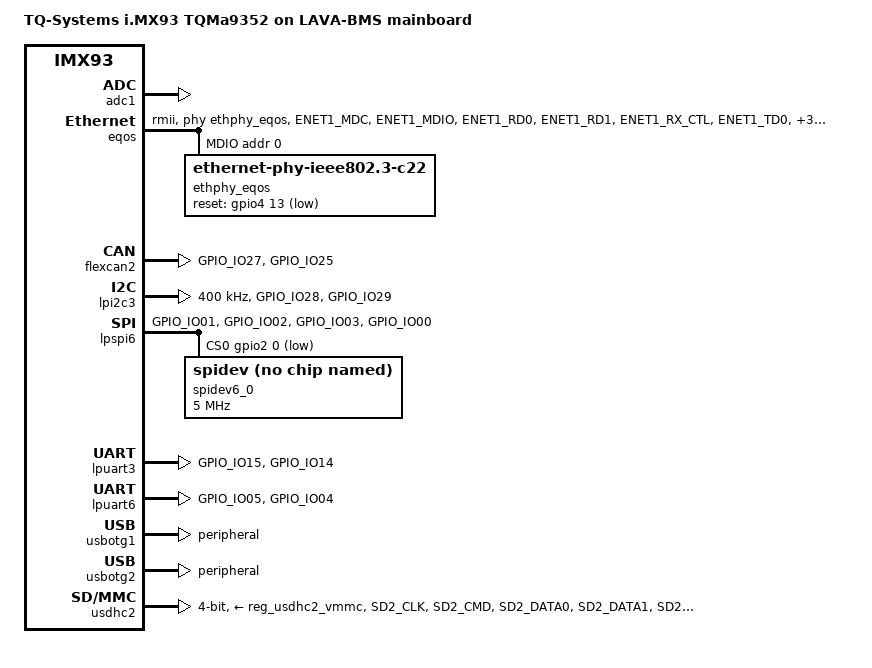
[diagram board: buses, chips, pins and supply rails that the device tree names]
// SPDX-License-Identifier: (GPL-2.0-or-later OR MIT)
/*
 * Copyright (c) 2026 TQ-Systems GmbH <linux@ew.tq-group.com>,
 * D-82229 Seefeld, Germany.
 * Author: Martin Schmiedel
 */
/dts-v1/;

#include "imx93-tqma9352.dtsi"

/{
	model = "TQ-Systems i.MX93 TQMa9352 on LAVA-BMS mainboard";
	compatible = "tq,imx93-tqma9352-lava-bms",
		     "tq,imx93-tqma9352", "fsl,imx93";
	chassis-type = "embedded";

	chosen {
		stdout-path = &lpuart3;
	};

	aliases {
		eeprom0 = &eeprom0;
		ethernet0 = &eqos;
		gpio0 = &gpio1;
		gpio1 = &gpio2;
		gpio2 = &gpio3;
		gpio3 = &gpio4;
		i2c0 = &lpi2c1;
		i2c1 = &lpi2c2;
		i2c2 = &lpi2c3;
		mmc0 = &usdhc1;
		mmc1 = &usdhc2;
		rtc0 = &pcf85063;
		rtc1 = &bbnsm_rtc;
		serial0 = &lpuart3;
		serial1 = &lpuart6;
	};
};

/*
 * X601 expansion header: I2C1, I2C3, UART6, SPI6, CAN2, ADC_IN[0..3] and
 * GPIO1.IO2/4/6/8/9/10/12/14 are routed there unpopulated, for manual
 * extension. I2C1 is the SOM's own lpi2c1 - the same bus as the PMIC,
 * EEPROM/VARD and on-module temperature sensor - it needs no separate
 * enablement here, but anything wired to the header shares that bus.
 */

/* X601 header, ADC_IN[0..3] - standard reference, no on-board consumer */
&adc1 {
	status = "okay";
};

&gpio1 {
	pinctrl-names = "default";
	pinctrl-0 = <&pinctrl_gpio1>;

	gpio-line-names =
		/* 00 */ "", "", "IO2", "PMIC_IRQ#",
		/* 04 */ "IO4", "", "IO6", "",
		/* 08 */ "IO8", "IO9", "IO10", "",
		/* 12 */ "IO12", "", "IO14", "",
		/* 16 */ "", "", "", "",
		/* 20 */ "", "", "", "",
		/* 24 */ "", "", "", "",
		/* 28 */ "", "", "", "";
};

&gpio2 {
	pinctrl-names = "default";
	pinctrl-0 = <&pinctrl_gpio2>;

	/* BMS1..BMS18: analog-switched signals, plain SOC GPIOs from here */
	gpio-line-names =
		/* 00 */ "", "", "", "",
		/* 04 */ "", "", "BMS1", "BMS2",
		/* 08 */ "BMS3", "BMS4", "BMS5", "BMS6",
		/* 12 */ "BMS7", "BMS8", "UART3_TX", "UART3_RX",
		/* 16 */ "BMS9", "BMS10", "BMS11", "BMS12",
		/* 20 */ "BMS13", "BMS14", "BMS15", "BMS16",
		/* 24 */ "BMS17", "CAN2_TX", "BMS18", "",
		/* 28 */ "", "", "", "";
};

&eqos {
	pinctrl-names = "default";
	pinctrl-0 = <&pinctrl_eqos>;
	phy-mode = "rmii";
	phy-handle = <&ethphy_eqos>;
	/*
	 * DP83825IRMQ is RMII Leader (own crystal, drives REF_CLK into
	 * ENET1_TD2) - switches the MAC's REF_CLK source mux to the
	 * external pin (see dwmac-imx.c imx93_set_intf_mode()).
	 */
	snps,rmii_refclk_ext;
	status = "okay";

	mdio {
		compatible = "snps,dwmac-mdio";
		#address-cells = <1>;
		#size-cells = <0>;

		ethphy_eqos: ethernet-phy@0 {
			compatible = "ethernet-phy-ieee802.3-c22";
			reg = <0>;
			pinctrl-names = "default";
			pinctrl-0 = <&pinctrl_eqos_phy>;
			reset-gpios = <&gpio4 13 GPIO_ACTIVE_LOW>;
			reset-assert-us = <500000>;
			reset-deassert-us = <50000>;
		};
	};
};

/* X601 header - plain logic-level TX/RX, no on-board transceiver */
&flexcan2 {
	pinctrl-names = "default";
	pinctrl-0 = <&pinctrl_flexcan2>;
	status = "okay";
};

/* X601 header - free bus, no on-board devices */
&lpi2c3 {
	#address-cells = <1>;
	#size-cells = <0>;
	clock-frequency = <400000>;
	pinctrl-names = "default";
	pinctrl-0 = <&pinctrl_lpi2c3>;
	status = "okay";
};

/* X601 header - single PCS0, one test device */
&lpspi6 {
	pinctrl-names = "default";
	pinctrl-0 = <&pinctrl_lpspi6>, <&pinctrl_lpspi6_cs>;
	cs-gpios = <&gpio2 0 GPIO_ACTIVE_LOW>;
	status = "okay";

	spidev6_0: spidev6@0 {
		compatible = "rohm,dh2228fv";
		reg = <0>;
		spi-max-frequency = <5000000>;
		status = "okay";
	};
};

&lpuart3 {
	pinctrl-names = "default";
	pinctrl-0 = <&pinctrl_uart3>;
	status = "okay";
};

/* X601 header - free bus, no on-board devices */
&lpuart6 {
	pinctrl-names = "default";
	pinctrl-0 = <&pinctrl_uart6>;
	status = "okay";
};

&usbotg1 {
	dr_mode = "peripheral";
	disable-over-current;
	samsung,picophy-pre-emp-curr-control = <3>;
	samsung,picophy-dc-vol-level-adjust = <7>;
	status = "okay";
};

&usbotg2 {
	dr_mode = "peripheral";
	disable-over-current;
	samsung,picophy-pre-emp-curr-control = <3>;
	samsung,picophy-dc-vol-level-adjust = <7>;
	status = "okay";
};

&usdhc2 {
	pinctrl-names = "default", "state_100mhz", "state_200mhz";
	pinctrl-0 = <&pinctrl_usdhc2_hs>, <&pinctrl_usdhc2_gpio>;
	pinctrl-1 = <&pinctrl_usdhc2_uhs>, <&pinctrl_usdhc2_gpio>;
	pinctrl-2 = <&pinctrl_usdhc2_uhs>, <&pinctrl_usdhc2_gpio>;
	cd-gpios = <&gpio3 0 GPIO_ACTIVE_LOW>;
	vmmc-supply = <&reg_usdhc2_vmmc>;
	bus-width = <4>;
	no-sdio;
	no-mmc;
	disable-wp;
	status = "okay";
};

&iomuxc {
	/*
	 * DP83825IRMQ, RMII, PHY is REF_CLK master. Reset on the otherwise
	 * unused RGMII RD3 line (repurposed as plain GPIO), REF_CLK input
	 * on the dedicated ENET_QOS_CLOCK_GENERATE_REF_CLK function of TD2.
	 */
	pinctrl_eqos: eqosgrp {
		fsl,pins = <
			/* PD | FSEL_2 | DSE X4 */
			MX93_PAD_ENET1_MDC__ENET_QOS_MDC			0x51e
			/* SION | HYS | FSEL_2 | DSE X4 */
			MX93_PAD_ENET1_MDIO__ENET_QOS_MDIO			0x4000111e
			/* HYS | FSEL_0 | DSE no drive */
			MX93_PAD_ENET1_RD0__ENET_QOS_RGMII_RD0			0x1000
			MX93_PAD_ENET1_RD1__ENET_QOS_RGMII_RD1			0x1000
			MX93_PAD_ENET1_RX_CTL__ENET_QOS_RGMII_RX_CTL		0x1000
			/* PD | FSEL_2 | DSE X4 */
			MX93_PAD_ENET1_TD0__ENET_QOS_RGMII_TD0			0x51e
			MX93_PAD_ENET1_TD1__ENET_QOS_RGMII_TD1			0x51e
			MX93_PAD_ENET1_TX_CTL__ENET_QOS_RGMII_TX_CTL		0x51e
			/* HYS | FSEL_0 | DSE no drive, external 50 MHz REF_CLK in */
			MX93_PAD_ENET1_TD2__CCM_ENET_QOS_CLOCK_GENERATE_REF_CLK 0x1000
		>;
	};

	pinctrl_eqos_phy: eqosphygrp {
		fsl,pins = <
			/* FSEL_2 | DSE X4, PHY reset */
			MX93_PAD_ENET1_RD3__GPIO4_IO13				0x011e
		>;
	};

	/* X601 header: IO2/4/6/8/9/10/12/14, plain GPIO1 inputs */
	pinctrl_gpio1: gpio1grp {
		fsl,pins = <
			/* HYS | PD | FSEL_2 | DSE X4 */
			MX93_PAD_I2C2_SCL__GPIO1_IO02			0x151e
			MX93_PAD_UART1_RXD__GPIO1_IO04			0x151e
			MX93_PAD_UART2_RXD__GPIO1_IO06			0x151e
			MX93_PAD_PDM_CLK__GPIO1_IO08			0x151e
			MX93_PAD_PDM_BIT_STREAM0__GPIO1_IO09		0x151e
			MX93_PAD_PDM_BIT_STREAM1__GPIO1_IO10		0x151e
			MX93_PAD_SAI1_TXC__GPIO1_IO12			0x151e
			MX93_PAD_SAI1_RXD0__GPIO1_IO14			0x151e
		>;
	};

	/* X601 header, plain logic-level TX/RX, no on-board transceiver */
	pinctrl_flexcan2: flexcan2grp {
		fsl,pins = <
			/* HYS | PU | FSEL_0 | DSE no drive */
			MX93_PAD_GPIO_IO27__CAN2_RX			0x1200
			/* PU | FSEL_3 | DSE X4 */
			MX93_PAD_GPIO_IO25__CAN2_TX			0x039e
		>;
	};

	/* X601 header */
	pinctrl_lpi2c3: lpi2c3grp {
		fsl,pins = <
			/* SION | HYS | OD | FSEL_3 | DSE X4 */
			MX93_PAD_GPIO_IO28__LPI2C3_SDA			0x4000199e
			MX93_PAD_GPIO_IO29__LPI2C3_SCL			0x4000199e
		>;
	};

	/* X601 header, single PCS0 */
	pinctrl_lpspi6: lpspi6grp {
		fsl,pins = <
			/* HYS | PD | FSEL_0 | DSE no drive */
			MX93_PAD_GPIO_IO01__LPSPI6_SIN			0x1400
			/* PD | FSEL_2 | DSE X4 */
			MX93_PAD_GPIO_IO02__LPSPI6_SOUT			0x051e
			MX93_PAD_GPIO_IO03__LPSPI6_SCK			0x051e
		>;
	};

	pinctrl_lpspi6_cs: lpspi6csgrp {
		fsl,pins = <
			/* FSEL_2 | DSE X4 */
			MX93_PAD_GPIO_IO00__GPIO2_IO00			0x011e
		>;
	};

	/* X601 header */
	pinctrl_uart6: uart6grp {
		fsl,pins = <
			/* HYS | FSEL_0 | No DSE */
			MX93_PAD_GPIO_IO05__LPUART6_RX			0x1000
			/* FSEL_2 | DSE X4 */
			MX93_PAD_GPIO_IO04__LPUART6_TX			0x011e
		>;
	};

	/* BMS1..BMS18 analog-switch signals, plain GPIO2 inputs */
	pinctrl_gpio2: gpio2grp {
		fsl,pins = <
			/* HYS | PD | FSEL_2 | DSE X4 */
			MX93_PAD_GPIO_IO06__GPIO2_IO06			0x151e
			MX93_PAD_GPIO_IO07__GPIO2_IO07			0x151e
			MX93_PAD_GPIO_IO08__GPIO2_IO08			0x151e
			MX93_PAD_GPIO_IO09__GPIO2_IO09			0x151e
			MX93_PAD_GPIO_IO10__GPIO2_IO10			0x151e
			MX93_PAD_GPIO_IO11__GPIO2_IO11			0x151e
			MX93_PAD_GPIO_IO12__GPIO2_IO12			0x151e
			MX93_PAD_GPIO_IO13__GPIO2_IO13			0x151e
			MX93_PAD_GPIO_IO16__GPIO2_IO16			0x151e
			MX93_PAD_GPIO_IO17__GPIO2_IO17			0x151e
			MX93_PAD_GPIO_IO18__GPIO2_IO18			0x151e
			MX93_PAD_GPIO_IO19__GPIO2_IO19			0x151e
			MX93_PAD_GPIO_IO20__GPIO2_IO20			0x151e
			MX93_PAD_GPIO_IO21__GPIO2_IO21			0x151e
			MX93_PAD_GPIO_IO22__GPIO2_IO22			0x151e
			MX93_PAD_GPIO_IO23__GPIO2_IO23			0x151e
			MX93_PAD_GPIO_IO24__GPIO2_IO24			0x151e
			MX93_PAD_GPIO_IO26__GPIO2_IO26			0x151e
		>;
	};

	pinctrl_uart3: uart3grp {
		fsl,pins = <
			/* HYS | FSEL_0 | No DSE */
			MX93_PAD_GPIO_IO15__LPUART3_RX			0x1000
			/* FSEL_2 | DSE X4 */
			MX93_PAD_GPIO_IO14__LPUART3_TX			0x011e
		>;
	};

	pinctrl_usdhc2_gpio: usdhc2gpiogrp {
		fsl,pins = <
			/* HYS | FSEL_0 | No DSE */
			MX93_PAD_SD2_CD_B__GPIO3_IO00			0x1000
		>;
	};

	/* enable SION for data and cmd pad due to ERR052021 */
	pinctrl_usdhc2_hs: usdhc2hsgrp {
		fsl,pins = <
			/* PD | FSEL_3 | DSE X5 */
			MX93_PAD_SD2_CLK__USDHC2_CLK			0x05be
			/* HYS | PU | FSEL_3 | DSE X4 */
			MX93_PAD_SD2_CMD__USDHC2_CMD			0x4000139e
			/* HYS | PU | FSEL_3 | DSE X3 */
			MX93_PAD_SD2_DATA0__USDHC2_DATA0		0x4000138e
			MX93_PAD_SD2_DATA1__USDHC2_DATA1		0x4000138e
			MX93_PAD_SD2_DATA2__USDHC2_DATA2		0x4000138e
			MX93_PAD_SD2_DATA3__USDHC2_DATA3		0x4000138e
			/* FSEL_2 | DSE X3 */
			MX93_PAD_SD2_VSELECT__USDHC2_VSELECT		0x010e
		>;
	};

	/* enable SION for data and cmd pad due to ERR052021 */
	pinctrl_usdhc2_uhs: usdhc2uhsgrp {
		fsl,pins = <
			/* PD | FSEL_3 | DSE X6 */
			MX93_PAD_SD2_CLK__USDHC2_CLK			0x05fe
			/* HYS | PU | FSEL_3 | DSE X4 */
			MX93_PAD_SD2_CMD__USDHC2_CMD			0x4000139e
			MX93_PAD_SD2_DATA0__USDHC2_DATA0		0x4000139e
			MX93_PAD_SD2_DATA1__USDHC2_DATA1		0x4000139e
			MX93_PAD_SD2_DATA2__USDHC2_DATA2		0x4000139e
			MX93_PAD_SD2_DATA3__USDHC2_DATA3		0x4000139e
			/* FSEL_2 | DSE X3 */
			MX93_PAD_SD2_VSELECT__USDHC2_VSELECT		0x010e
		>;
	};
};
